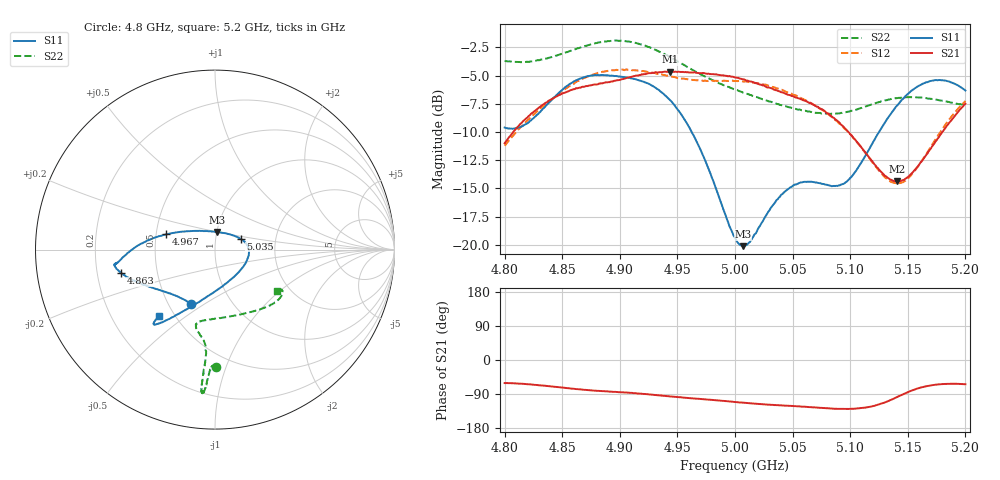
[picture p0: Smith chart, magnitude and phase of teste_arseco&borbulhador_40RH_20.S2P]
! Network Analyzer HP8722D
! Hewlett-Packard
! Data name: Linha & Wilkinson
! Saver's name: Rodrigo Anjos
! Comments: Teste da utilização de aquisição
! continua pelo VNA HP8722D
! Time and date: 15/4/2025 16:31
!  Frequency  S11  S21  S12  S22
# HZ  S  MA R 50
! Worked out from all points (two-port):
!   401 points, 4.8 GHz to 5.2 GHz, reference 50 ohm
!   highest |S21| = -4.63 dB at 4.944 GHz (marker M1); lowest = -14.4 dB at 5.141 GHz (marker M2)
!   |S21| within 3 dB of the highest: 4.832 GHz to 5.069 GHz (236.7 MHz wide, 4.78 % of centre); 5.198592 GHz to end of sweep
!   lowest |S11| = -20.1 dB at 5.007 GHz (marker M3), VSWR 1.22, Z = 50.1 + j9.91 ohm
!   |S11| at or under -10 dB: 4.962 GHz to 5.125 GHz (162.6 MHz wide, 3.22 % of centre)
!   |S22| runs from -8.4 to -1.9 dB; largest |S21 - S12| = 0.88
!   S11 on the Smith chart (normalised r, x): 4.8 GHz: 0.65, -0.44; 4.863 GHz: 0.30, -0.11; 4.967 GHz: 0.57, +0.10; 5.035 GHz: 1.32, +0.16; 5.2 GHz: 0.41, -0.40
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4.8e9  0.331 -113.7  0.2817 -60.9  0.2751 -175.1  0.6535 -89.5
4.819e9  0.3443 -133.5  0.3645 -63.7  0.3521 -173.3  0.648 -91.2
4.84e9  0.4341 -152.7  0.4394 -69.5  0.439 -173.5  0.6786 -92.5
4.863e9  0.5382 -165.9  0.4941 -77.0  0.5307 -176.6  0.743 -93.5
4.867e9  0.549 -167.5  0.5008 -78.1  0.5413 -177.4  0.7546 -93.6
4.899e9  0.5574 -172.1  0.5382 -84.9  0.5962 175.8  0.8029 -95.0
4.934e9  0.4855 -177.9  0.5819 -93.3  0.5737 171.9  0.7194 -95.6
4.944e9  0.4363 177.5  0.5865 -96.1  0.5588 171.9  0.6795 -95.3
4.967e9  0.2849 162.6  0.5789 -102.0  0.5359 174.0  0.581 -94.9
5e9  0.1076 107.3  0.5521 -110.8  0.5326 176.5  0.4876 -99.3
5.007e9  0.09853 83.6  0.5417 -112.5  0.53 176.4  0.473 -100.8
5.014e9  0.1048 61.4  0.5299 -114.4  0.5247 176.3  0.4611 -102.3
5.035e9  0.1546 23.1  0.4851 -118.9  0.4972 175.3  0.4245 -103.8
5.05e9  0.1823 7.2  0.4565 -121.5  0.4636 174.4  0.4038 -100.5
5.067e9  0.1899 -11.1  0.4204 -124.6  0.4225 174.0  0.386 -92.2
5.086e9  0.1823 -41.5  0.3647 -128.7  0.3609 173.7  0.3814 -77.7
5.097e9  0.1903 -64.7  0.3218 -129.1  0.3221 174.5  0.3882 -68.6
5.134e9  0.3733 -116.0  0.1958 -107.0  0.1922 -159.8  0.4413 -43.4
5.141e9  0.4159 -119.9  0.1908 -97.2  0.1873 -148.9  0.4473 -40.2
5.153e9  0.4813 -124.9  0.2066 -81.1  0.2039 -130.2  0.4514 -35.9
5.171e9  0.5338 -128.7  0.2727 -66.6  0.2769 -112.4  0.4431 -31.8
5.2e9  0.4832 -130.2  0.4221 -63.9  0.434 -106.0  0.4151 -33.4
